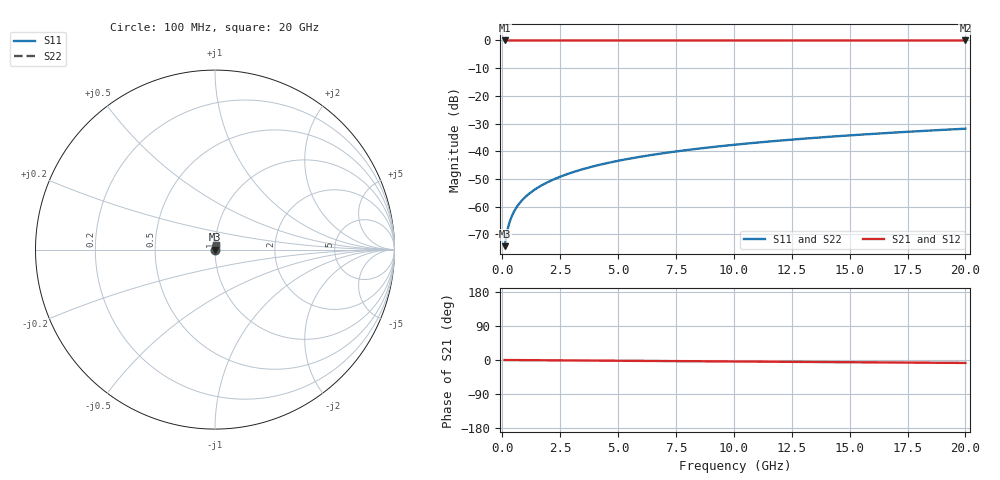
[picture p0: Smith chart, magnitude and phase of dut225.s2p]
! Touchstone file exported from HFSS 2026.1.0
!  File:  C:/ffzhzh/LocalFiles/Ansys_Project_Files/temp_train_TSV_225_1782992270_42984.aedt
!  Generated:  07:39:37 PM Jul  2, 2026
!  Design:  TSV
!  Project:  temp_train_TSV_225_1782992270_42984
! Variables:
!  h_bsmrdl = 2um
!  h_ox = 20um
!  h_rdl = 5um
!  h_sub = 72.19um
!  h_tmrdl = 5um
!  h_tsv = 72.19um
!  h_via = 3um
!  l_bsmrdl = 300um
!  l_sub = 422.04um
!  l_tmrdl = 200um
!  m_sub = 200um
!  pitch = 54.62um
!  r_tsv = 11.02um
!  s_tmrdl = 10um
!  w_bsmrdl = 18um
!  w_sub = 500um
!  w_tmrdl = 12um
!  x_tsv_center1 = 206um
!  x_tsv_center2 = 524um
!  x_tsv_center3 = 736um
!  x_tsv_center4 = 1054um
!  x_tsv_center5 = 1266um
!  x_tsv_center6 = 1584um
# GHz S MA R 50.000000
! Terminal data exported
! Port[1] = TSV1_1_T1
! Port[2] = TSV1_1_T2
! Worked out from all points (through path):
!   200 points, 100 MHz to 20 GHz, reference 50 ohm
!   highest |S21| = 0.00 dB at 100 MHz (marker M1); lowest = 0.0 dB at 20 GHz (marker M2)
!   group delay of S21, straight-line fit = 1.08 ps
!   lowest |S11| = -74.3 dB at 100 MHz (marker M3), VSWR 1.00, Z = 50 + j0.0165 ohm
!   |S11| at or under -10 dB: start of sweep to end of sweep
!   |S22| runs from -74.3 to -31.9 dB; largest |S21 - S12| = 2.3e-15
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0.1  0.0001929 58.7  0.9999 -0.0  0.9999 -0.0  0.0001929 58.7
! Gamma 0 0 0 0
! Port Impedance 50 0 50 0
0.2  0.0003455 71.3  0.9999 -0.1  0.9999 -0.1  0.0003455 71.3
0.3  0.0005018 75.4  0.9999 -0.1  0.9999 -0.1  0.0005018 75.4
0.4  0.0006552 77.1  0.9999 -0.2  0.9999 -0.2  0.0006552 77.1
0.5  0.0008043 78.0  0.9998 -0.2  0.9998 -0.2  0.0008043 78.0
0.6  0.0009492 78.5  0.9998 -0.2  0.9998 -0.2  0.0009492 78.5
0.7  0.00109 78.9  0.9998 -0.3  0.9998 -0.3  0.00109 78.9
0.9  0.001365 79.6  0.9998 -0.4  0.9998 -0.4  0.001365 79.6
1.1  0.001632 80.1  0.9997 -0.4  0.9997 -0.4  0.001632 80.1
1.3  0.001896 80.7  0.9997 -0.5  0.9997 -0.5  0.001896 80.7
1.6  0.002289 81.3  0.9997 -0.6  0.9997 -0.6  0.002289 81.3
1.9  0.002681 81.9  0.9997 -0.8  0.9997 -0.8  0.002681 81.9
2.6  0.003596 82.7  0.9996 -1.0  0.9996 -1.0  0.003596 82.7
3.5  0.004769 83.3  0.9995 -1.4  0.9995 -1.4  0.004769 83.3
4.2  0.005677 83.4  0.9995 -1.6  0.9995 -1.6  0.005677 83.4
5  0.006708 83.5  0.9994 -2.0  0.9994 -2.0  0.006708 83.5
6.8  0.00901 83.4  0.9993 -2.7  0.9993 -2.7  0.00901 83.4
8.3  0.01091 83.1  0.9992 -3.2  0.9992 -3.2  0.01091 83.1
10.1  0.01318 82.7  0.9991 -3.9  0.9991 -3.9  0.01318 82.7
13.4  0.01733 81.9  0.999 -5.2  0.999 -5.2  0.01733 81.9
16.7  0.02144 80.9  0.9988 -6.5  0.9988 -6.5  0.02144 80.9
20  0.02551 79.8  0.9986 -7.8  0.9986 -7.8  0.02551 79.8
